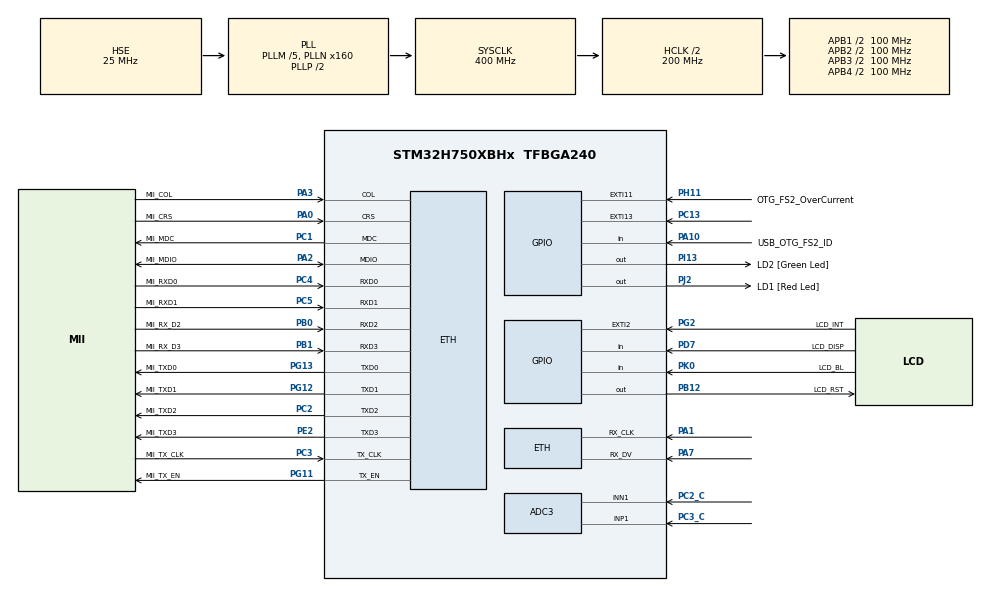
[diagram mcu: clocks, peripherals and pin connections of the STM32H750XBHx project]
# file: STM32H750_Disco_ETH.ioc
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ADC3.Channel-0\#ChannelRegularConversion=ADC_CHANNEL_1
ADC3.NbrOfConversionFlag=1
ADC3.OffsetNumber-0\#ChannelRegularConversion=ADC_OFFSET_NONE
ADC3.Rank-0\#ChannelRegularConversion=1
ADC3.SamplingTime-0\#ChannelRegularConversion=ADC_SAMPLETIME_1CYCLE_5
ADC3.SingleDiff-0\#ChannelRegularConversion=ADC_DIFFERENTIAL_ENDED
CORTEX_M7.AccessPermission_S-Cortex_Memory_Protection_Unit_Region1_Settings_S=MPU_REGION_FULL_ACCESS
CORTEX_M7.AccessPermission_S-Cortex_Memory_Protection_Unit_Region2_Settings_S=MPU_REGION_FULL_ACCESS
CORTEX_M7.BaseAddress_S-Cortex_Memory_Protection_Unit_Region1_Settings_S=0x30020000
CORTEX_M7.BaseAddress_S-Cortex_Memory_Protection_Unit_Region2_Settings_S=0x30040000
CORTEX_M7.CPU_DCache=Enabled
CORTEX_M7.CPU_ICache=Enabled
CORTEX_M7.DisableExec_S-Cortex_Memory_Protection_Unit_Region1_Settings_S=MPU_INSTRUCTION_ACCESS_DISABLE
CORTEX_M7.DisableExec_S-Cortex_Memory_Protection_Unit_Region2_Settings_S=MPU_INSTRUCTION_ACCESS_DISABLE
CORTEX_M7.Enable_S-Cortex_Memory_Protection_Unit_Region1_Settings_S=MPU_REGION_ENABLE
CORTEX_M7.Enable_S-Cortex_Memory_Protection_Unit_Region2_Settings_S=MPU_REGION_ENABLE
CORTEX_M7.IsBufferable_S-Cortex_Memory_Protection_Unit_Region2_Settings_S=MPU_ACCESS_BUFFERABLE
CORTEX_M7.IsShareable_S-Cortex_Memory_Protection_Unit_Region2_Settings_S=MPU_ACCESS_SHAREABLE
CORTEX_M7.Size_S-Cortex_Memory_Protection_Unit_Region1_Settings_S=MPU_REGION_SIZE_128KB
CORTEX_M7.Size_S-Cortex_Memory_Protection_Unit_Region2_Settings_S=MPU_REGION_SIZE_512B
CORTEX_M7.TypeExtField_S-Cortex_Memory_Protection_Unit_Region1_Settings_S=MPU_TEX_LEVEL1
CORTEX_M7.default_mode_Activation=1
ETH.MediaInterface=HAL_ETH_MII_MODE
ETH.RxBuffAddress=0x30000200
ETH.RxBuffLen=1536
ETH.TxDescAddress=0x30000100
FREERTOS.Queues01=buttonEventQueue,8,uint8_t,0,Dynamic,NULL,NULL
FREERTOS.Tasks01=defaultTask,24,512,StartDefaultTask,Default,NULL,Dynamic,NULL,NULL;ButtonTask,24,512,StartButtonTask,Default,NULL,Dynamic,NULL,NULL
FREERTOS.configCHECK_FOR_STACK_OVERFLOW=1
FREERTOS.configMINIMAL_STACK_SIZE=512
FREERTOS.configTOTAL_HEAP_SIZE=30*1024
FREERTOS.configUSE_NEWLIB_REENTRANT=1
LWIP.BSP.number=1
LWIP.DEFAULT_THREAD_STACKSIZE=2048
LWIP.IP_ADDRESS=192.168.001.010
LWIP.LWIP_DHCP=0
LWIP.LWIP_RAM_HEAP_POINTER=0x30020000
LWIP.MEM_SIZE=131048
LWIP.NETMASK_ADDRESS=255.255.255.000
LWIP.TCPIP_THREAD_STACKSIZE=2048
LWIP.TCP_MSS=1460
LWIP.TCP_SND_BUF=5840
LWIP.TCP_SND_QUEUELEN=16
LWIP.Version=v2.1.2_Cube
LWIP0.BSP.STBoard=false
LWIP0.BSP.api=BSP_COMPONENT_DRIVER
LWIP0.BSP.component=LAN8742
LWIP0.BSP.instance=LAN8742
LWIP0.BSP.name=Driver_PHY
LWIP0.BSP.semaphore=S_LAN8742
LWIP0.BSP.solution=LAN8742
Mcu.Family=STM32H7
Mcu.Name=STM32H750XBHx
Mcu.Package=TFBGA240
NVIC.ETH_IRQn=true\:5\:0\:false\:false\:true\:true\:true\:true\:true
NVIC.EXTI15_10_IRQn=true\:5\:0\:false\:false\:true\:true\:true\:true\:true
NVIC.PriorityGroup=NVIC_PRIORITYGROUP_4
NVIC.TIM6_DAC_IRQn=true\:15\:0\:false\:false\:true\:false\:false\:true\:true
NVIC.TimeBase=TIM6_DAC_IRQn
NVIC.TimeBaseIP=TIM6
PA0.GPIO_Label=MII_CRS
PA0.GPIO_Speed=GPIO_SPEED_FREQ_VERY_HIGH
PA0.Mode=MII
PA0.Signal=ETH_CRS
PA0_C.Signal=ADCx_INP0
PA1.GPIO_Speed=GPIO_SPEED_FREQ_VERY_HIGH
PA1.Mode=MII
PA1.Signal=ETH_RX_CLK
PA10.GPIO_Label=USB_OTG_FS2_ID
PA10.Signal=GPIO_Input
PA11.GPIO_Label=USB_OTG_FS2_N
PA11.Signal=USB_OTG_FS_DM
PA12.GPIO_Label=USB_OTG_FS2_P
PA12.Signal=USB_OTG_FS_DP
PA1_C.Signal=ADCx_INP1
PA2.GPIO_Label=MII_MDIO
PA2.GPIO_Speed=GPIO_SPEED_FREQ_VERY_HIGH
PA2.Mode=MII
PA2.Signal=ETH_MDIO
PA3.GPIO_Label=MII_COL
PA3.GPIO_Speed=GPIO_SPEED_FREQ_VERY_HIGH
PA3.Mode=MII
PA3.Signal=ETH_COL
PA6.Signal=S_TIM13_CH1
PA7.GPIO_Speed=GPIO_SPEED_FREQ_VERY_HIGH
PA7.Mode=MII
PA7.Signal=ETH_RX_DV
PA8.Signal=S_TIM1_CH1
PA9.GPIO_Label=VBUS_FS2
PA9.Signal=USB_OTG_FS_VBUS
PB0.GPIO_Label=MII_RX_D2
PB0.GPIO_Speed=GPIO_SPEED_FREQ_VERY_HIGH
PB0.Mode=MII
PB0.Signal=ETH_RXD2
PB1.GPIO_Label=MII_RX_D3
PB1.GPIO_Speed=GPIO_SPEED_FREQ_VERY_HIGH
PB1.Mode=MII
PB1.Signal=ETH_RXD3
PB10.GPIO_Label=VCP_TX
PB10.Signal=USART3_TX
PB11.GPIO_Label=VCP_RX
PB11.Signal=USART3_RX
PB12.GPIO_Label=LCD_RST
PB12.Signal=GPIO_Output
PB13.GPIO_Label=FDCAN2_TX
PB13.Signal=FDCAN2_TX
PB15.Signal=SPI2_MOSI
PB4\ (NJTRST).Signal=SPI2_NSS
PB5.GPIO_Label=FDCAN2_RX
PB5.Signal=FDCAN2_RX
PB6.Signal=QUADSPI_BK1_NCS
PB8.GPIO_Label=SDIO1_D4
PB8.Signal=SDMMC1_D4
PB9.GPIO_Label=SDIO1_D5
PB9.Signal=SDMMC1_D5
PC0.Signal=ADCx_INP10
PC1.GPIO_Label=MII_MDC
PC1.GPIO_Speed=GPIO_SPEED_FREQ_VERY_HIGH
PC1.Mode=MII
PC1.Signal=ETH_MDC
PC10.GPIO_Label=SDIO1_D2
PC10.Signal=SDMMC1_D2
PC11.GPIO_Label=SDIO1_D3
PC11.Signal=SDMMC1_D3
PC12.GPIO_Label=SDIO1_CK
PC12.Signal=SDMMC1_CK
PC13.GPIO_ModeDefaultEXTI=GPIO_MODE_IT_RISING_FALLING
PC13.GPIO_PuPd=GPIO_NOPULL
PC13.Signal=GPXTI13
PC14-OSC32_IN\ (OSC32_IN).GPIO_Label=OSC32_IN
PC14-OSC32_IN\ (OSC32_IN).Mode=LSE-External-Clock-Source
PC14-OSC32_IN\ (OSC32_IN).Signal=RCC_OSC32_IN
PC15-OSC32_OUT\ (OSC32_OUT).GPIO_Label=OSC32_OUT
PC15-OSC32_OUT\ (OSC32_OUT).Signal=RCC_OSC32_OUT
PC2.GPIO_Label=MII_TXD2
PC2.GPIO_Speed=GPIO_SPEED_FREQ_VERY_HIGH
PC2.Mode=MII
PC2.Signal=ETH_TXD2
PC2_C.Signal=SharedAnalog_PC2
PC3.GPIO_Label=MII_TX_CLK
PC3.GPIO_Speed=GPIO_SPEED_FREQ_VERY_HIGH
PC3.Mode=MII
PC3.Signal=ETH_TX_CLK
PC3_C.Mode=IN1-Differential
PC3_C.Signal=ADC3_INP1
PC4.GPIO_Label=MII_RXD0
PC4.GPIO_Speed=GPIO_SPEED_FREQ_VERY_HIGH
PC4.Mode=MII
PC4.Signal=ETH_RXD0
PC5.GPIO_Label=MII_RXD1
PC5.GPIO_Speed=GPIO_SPEED_FREQ_VERY_HIGH
PC5.Mode=MII
PC5.Signal=ETH_RXD1
PC6.GPIO_Label=SDIO1_D6
PC6.Signal=SDMMC1_D6
PC7.GPIO_Label=SDIO1_D7
PC7.Signal=SDMMC1_D7
PC8.GPIO_Label=SDIO1_D0
PC8.Signal=SDMMC1_D0
PC9.GPIO_Label=SDIO1_D1
PC9.Signal=SDMMC1_D1
PD0.Signal=FMC_D2_DA2
PD1.Signal=FMC_D3_DA3
PD10.Signal=FMC_D15_DA15
PD11.Signal=QUADSPI_BK1_IO0
PD14.Signal=FMC_D0_DA0
PD15.Signal=FMC_D1_DA1
PD2.GPIO_Label=SDIO1_CMD
PD2.Signal=SDMMC1_CMD
PD3.Signal=SPI2_SCK
PD7.GPIO_Label=LCD_DISP
PD7.Signal=GPIO_Input
PD8.Signal=FMC_D13_DA13
PD9.Signal=FMC_D14_DA14
PE0.Signal=FMC_NBL0
PE1.Signal=FMC_NBL1
PE10.Signal=FMC_D7_DA7
PE11.Signal=FMC_D8_DA8
PE12.Signal=FMC_D9_DA9
PE13.Signal=FMC_D10_DA10
PE14.Signal=FMC_D11_DA11
PE15.Signal=FMC_D12_DA12
PE2.GPIO_Label=MII_TXD3
PE2.GPIO_Speed=GPIO_SPEED_FREQ_VERY_HIGH
PE2.Mode=MII
PE2.Signal=ETH_TXD3
PE4.Signal=SAI4_D2
PE5.Signal=SAI4_CK2
PE7.Signal=FMC_D4_DA4
PE8.Signal=FMC_D5_DA5
PE9.Signal=FMC_D6_DA6
PF0.Signal=FMC_A0
PF1.Signal=FMC_A1
PF10.Signal=QUADSPI_CLK
PF11.Signal=FMC_SDNRAS
PF12.Signal=FMC_A6
PF13.Signal=FMC_A7
PF14.Signal=FMC_A8
PF15.Signal=FMC_A9
PF2.Signal=FMC_A2
PF3.Signal=FMC_A3
PF4.Signal=FMC_A4
PF5.Signal=FMC_A5
PF6.Signal=QUADSPI_BK1_IO3
PF7.Signal=QUADSPI_BK1_IO2
PF8.Signal=ADC3_INP7
PF9.Signal=QUADSPI_BK1_IO1
PG0.Signal=FMC_A10
PG1.Signal=FMC_A11
PG10.Signal=SAI2_SD_B
PG11.GPIO_Label=MII_TX_EN
PG11.GPIO_Speed=GPIO_SPEED_FREQ_VERY_HIGH
PG11.Mode=MII
PG11.Signal=ETH_TX_EN
PG12.GPIO_Label=MII_TXD1
PG12.GPIO_Speed=GPIO_SPEED_FREQ_VERY_HIGH
PG12.Mode=MII
PG12.Signal=ETH_TXD1
PG13.GPIO_Label=MII_TXD0
PG13.GPIO_Speed=GPIO_SPEED_FREQ_VERY_HIGH
PG13.Mode=MII
PG13.Signal=ETH_TXD0
PG15.Signal=FMC_SDNCAS
PG2.GPIO_Label=LCD_INT
PG2.Signal=GPXTI2
PG4.Signal=FMC_A14_BA0
PG5.Signal=FMC_A15_BA1
PG8.Signal=FMC_SDCLK
PH0-OSC_IN\ (PH0).GPIO_Label=OSC_IN
PH0-OSC_IN\ (PH0).Mode=HSE-External-Clock-Source
PH0-OSC_IN\ (PH0).Signal=RCC_OSC_IN
PH1-OSC_OUT\ (PH1).GPIO_Label=OSC_OUT
PH1-OSC_OUT\ (PH1).Signal=RCC_OSC_OUT
PH11.GPIO_Label=OTG_FS2_OverCurrent
PH11.Signal=GPXTI11
PH13.GPIO_Label=FDCAN1_TX
PH13.Signal=FDCAN1_TX
PH14.GPIO_Label=FDCAN1_RX
PH14.Signal=FDCAN1_RX
PH15.Signal=TIM8_CH3N
PH5.Signal=FMC_SDNWE
PH6.Signal=FMC_SDNE1
PH7.Signal=FMC_SDCKE1
PH9.Signal=LTDC_R3
PI0.Signal=LTDC_G5
PI1.Signal=LTDC_G6
PI10.GPIO_Label=MII_RX_ER
PI10.Signal=ETH_RX_ER
PI12.Signal=LTDC_HSYNC
PI13.GPIO_Label=LD2 [Green Led]
PI13.Signal=GPIO_Output
PI14.Signal=LTDC_CLK
PI15.Signal=LTDC_R0
PI2.Signal=SPI2_MISO
PI4.Signal=SAI2_MCLK_A
PI5.Signal=SAI2_SCK_A
PI6.Signal=SAI2_SD_A
PI7.Signal=SAI2_FS_A
PI9.Signal=LTDC_VSYNC
PJ0.Signal=LTDC_R1
PJ1.Signal=LTDC_R2
PJ10.Signal=LTDC_G3
PJ11.Signal=LTDC_G4
PJ12.Signal=LTDC_B0
PJ13.Signal=LTDC_B1
PJ14.Signal=LTDC_B2
PJ15.GPIO_Label=LCD_DISP
PJ15.Signal=LTDC_B3
PJ2.GPIO_Label=LD1 [Red Led]
PJ2.Signal=GPIO_Output
PJ3.Signal=LTDC_R4
PJ4.Signal=LTDC_R5
PJ5.Signal=LTDC_R6
PJ6.Signal=LTDC_R7
PJ7.Signal=LTDC_G0
PJ8.Signal=LTDC_G1
PJ9.Signal=LTDC_G2
PK0.GPIO_Label=LCD_BL
PK0.Signal=GPIO_Input
PK2.Signal=LTDC_G7
PK3.Signal=LTDC_B4
PK4.Signal=LTDC_B5
PK5.Signal=LTDC_B6
PK6.Signal=LTDC_B7
PK7.Signal=LTDC_DE
ProjectManager.HeapSize=0x200
ProjectManager.StackSize=0x400
ProjectManager.TargetToolchain=STM32CubeIDE
RCC.ADCFreq_Value=37500000
RCC.APB1Freq_Value=100000000
RCC.APB2Freq_Value=100000000
RCC.APB3Freq_Value=100000000
RCC.APB4Freq_Value=100000000
RCC.CortexFreq_Value=400000000
RCC.D1PPRE=RCC_APB3_DIV2
RCC.D2PPRE1=RCC_APB1_DIV2
RCC.D2PPRE2=RCC_APB2_DIV2
RCC.D3PPRE=RCC_APB4_DIV2
RCC.DIVM1=5
RCC.DIVM2=2
RCC.DIVN1=160
RCC.DIVN2=12
RCC.DIVP2=4
RCC.DIVQ1=4
RCC.HCLKFreq_Value=200000000
RCC.HPRE=RCC_HCLK_DIV2
RCC.PLL2FRACN=0
RCC.PLL3FRACN=0
RCC.PLLFRACN=0
RCC.PLLSourceVirtual=RCC_PLLSOURCE_HSE
RCC.SYSCLKFreq_VALUE=400000000
RCC.SYSCLKSource=RCC_SYSCLKSOURCE_PLLCLK
RCC.USBFreq_Value=200000000
SH.ADCx_INP0.0=ADC1_INP0
SH.ADCx_INP0.1=ADC2_INP0
SH.ADCx_INP1.0=ADC1_INP1
SH.ADCx_INP1.1=ADC2_INP1
SH.ADCx_INP10.0=ADC1_INP10
SH.ADCx_INP10.1=ADC3_INP10
SH.FMC_A0.0=FMC_A0
SH.FMC_A1.0=FMC_A1
SH.FMC_A10.0=FMC_A10
SH.FMC_A11.0=FMC_A11
SH.FMC_A14_BA0.0=FMC_BA0
SH.FMC_A15_BA1.0=FMC_BA1
SH.FMC_A2.0=FMC_A2
SH.FMC_A3.0=FMC_A3
SH.FMC_A4.0=FMC_A4
SH.FMC_A5.0=FMC_A5
SH.FMC_A6.0=FMC_A6
SH.FMC_A7.0=FMC_A7
SH.FMC_A8.0=FMC_A8
SH.FMC_A9.0=FMC_A9
SH.FMC_D0_DA0.0=FMC_D0
SH.FMC_D10_DA10.0=FMC_D10
SH.FMC_D11_DA11.0=FMC_D11
SH.FMC_D12_DA12.0=FMC_D12
SH.FMC_D13_DA13.0=FMC_D13
SH.FMC_D14_DA14.0=FMC_D14
SH.FMC_D15_DA15.0=FMC_D15
SH.FMC_D1_DA1.0=FMC_D1
SH.FMC_D2_DA2.0=FMC_D2
SH.FMC_D3_DA3.0=FMC_D3
SH.FMC_D4_DA4.0=FMC_D4
SH.FMC_D5_DA5.0=FMC_D5
SH.FMC_D6_DA6.0=FMC_D6
SH.FMC_D7_DA7.0=FMC_D7
SH.FMC_D8_DA8.0=FMC_D8
SH.FMC_D9_DA9.0=FMC_D9
SH.FMC_NBL0.0=FMC_NBL0
SH.FMC_NBL1.0=FMC_NBL1
SH.FMC_SDCLK.0=FMC_SDCLK
SH.FMC_SDNCAS.0=FMC_SDNCAS
SH.FMC_SDNRAS.0=FMC_SDNRAS
SH.FMC_SDNWE.0=FMC_SDNWE
SH.S_TIM13_CH1.0=TIM13_CH1
SH.S_TIM1_CH1.0=TIM1_CH1
SH.SharedAnalog_PC2.0=ADC3_INP0
SH.SharedAnalog_PC2.1=ADC3_INN1,IN1-Differential
VP_FREERTOS_VS_CMSIS_V2.Mode=CMSIS_V2
VP_LWIP_VS_Enabled.Mode=Enabled
VP_SYS_VS_tim6.Mode=TIM6
board=STM32H750B-DK

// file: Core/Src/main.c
/* USER CODE BEGIN Header */
/**
  ******************************************************************************
  * @file           : main.c
  * @brief          : Main program body
  ******************************************************************************
  * @attention
  *
  * Copyright (c) 2022 STMicroelectronics.
  * All rights reserved.
  *
  * This software is licensed under terms that can be found in the LICENSE file
  * in the root directory of this software component.
  * If no LICENSE file comes with this software, it is provided AS-IS.
  *
  ******************************************************************************
  */
/* USER CODE END Header */
#include "main.h"
#include "cmsis_os.h"
#include "lwip.h"

/* USER CODE BEGIN Includes */
/* ETH_CODE: add lwiperf, see comment in StartDefaultTask function */
#include "lwip/apps/lwiperf.h"

#include "lwip/udp.h"
#include "lwip/tcp.h"
#include <string.h>
#include <stdbool.h>
#include <stdio.h>
#include <stdlib.h>
#include "mqtt.h"
#include "lwip/apps/mqtt.h"
#include "lwip/apps/mqtt_priv.h"
/* USER CODE END Includes */

/* USER CODE BEGIN PD */
#define GPIOC_IDR ((volatile uint32_t*) 0x58020810)
/* USER CODE END PD */

ADC_HandleTypeDef hadc3;

/* Definitions for defaultTask */
osThreadId_t defaultTaskHandle;
const osThreadAttr_t defaultTask_attributes = {
  .name = "defaultTask",
  .stack_size = 512 * 4,
  .priority = (osPriority_t) osPriorityNormal,
};
/* Definitions for ButtonTask */
osThreadId_t ButtonTaskHandle;
const osThreadAttr_t ButtonTask_attributes = {
  .name = "ButtonTask",
  .stack_size = 512 * 4,
  .priority = (osPriority_t) osPriorityNormal,
};
/* Definitions for buttonEventQueue */
osMessageQueueId_t buttonEventQueueHandle;
const osMessageQueueAttr_t buttonEventQueue_attributes = {
  .name = "buttonEventQueue"
};
/* USER CODE BEGIN PV */
struct tcp_pcb* tcp_client;
/* USER CODE END PV */

void SystemClock_Config(void);
static void MPU_Config(void);
static void MX_GPIO_Init(void);
static void MX_ADC3_Init(void);
void StartDefaultTask(void *argument);
void StartButtonTask(void *argument);

/* USER CODE BEGIN 0 */

static mqtt_client_t mqtt_client;
ip_addr_t broker_ip;
bool mqtt_connected = false;

void mqtt_sub_request_cb(void *arg, err_t result) {
  printf("Subscribe result: %d\n\r", result);
}

void mqtt_pub_request_cb(void *arg, err_t result)
{
  if(result != ERR_OK) {
    printf("Publish result: %d\n", result);
  }
}

void mqtt_subscribe_cb(void *arg, const char *topic, u32_t tot_len) {
  printf("Subscribed to: %s\n", topic);
}

void mqtt_incoming_publish_cb(void *arg, const char *topic, u32_t tot_len) {
  printf("Incoming: %s\n", topic);
}

void mqtt_incoming_data_cb(void *arg, const u8_t *data, u16_t len, u8_t flags) {
  printf("Message: %.*s\n", len, data);
}

void mqtt_connection_cb(mqtt_client_t *client, void *arg, mqtt_connection_status_t status) {
  if (status == MQTT_CONNECT_ACCEPTED) {
    printf("MQTT connected!\n");
    mqtt_connected = true;

    mqtt_set_inpub_callback(client, mqtt_incoming_publish_cb, mqtt_incoming_data_cb, NULL);

    /* Subscribe to topic */
    mqtt_subscribe(client, "stm32/temp", 0, mqtt_sub_request_cb, NULL);

    /* Publish dummy temp */
    int temp = (rand() % 11) + 20; // Random number between 20 and 30
    const char temp_msg[3];
    sprintf(temp_msg, "%d", temp);

    err_t err = mqtt_publish(client, "stm32/temp", temp_msg, strlen(temp_msg), 0, 0, mqtt_pub_request_cb, NULL);
    if (err != ERR_OK) {
      printf("Publish error: %d\n", err);
    }
  } else {
    printf("Connection failed: %d\n", status);
  }
}

void start_mqtt(void) {
  mqtt_client_t *client = &mqtt_client;

  struct mqtt_connect_client_info_t ci = {
    .client_id = "stm32h7",
    .client_user = "user1",
    .client_pass = "pass1",
    .keep_alive = 60,
    .will_topic = NULL,
    .will_msg = NULL,
    .will_qos = 0,
    .will_retain = 0
  };

  LOCK_TCPIP_CORE();
  mqtt_client_connect(client, &broker_ip, 1883, mqtt_connection_cb, NULL, &ci);
  UNLOCK_TCPIP_CORE();
}

void HAL_GPIO_EXTI_Callback(uint16_t GPIO_Pin)
{
  if (GPIO_Pin == GPIO_PIN_13)
  {
    // Button state changed, send TCP packet
    GPIO_PinState state = HAL_GPIO_ReadPin(GPIOC, GPIO_PIN_13);
    uint8_t button_msg = 0;
    if (state == GPIO_PIN_RESET) {
      // button released
      button_msg = 0;
    } else {
      // button pressed
      button_msg = 1;
    }

    osMessageQueuePut(buttonEventQueueHandle, &button_msg, 0, 0);
  }
}

/* USER CODE END 0 */

int main(void)
{

  /* MPU Configuration--------------------------------------------------------*/
  MPU_Config();

  /* Enable the CPU Cache */

  /* Enable I-Cache---------------------------------------------------------*/
  SCB_EnableICache();

  /* Enable D-Cache---------------------------------------------------------*/
  SCB_EnableDCache();

  /* MCU Configuration--------------------------------------------------------*/

  /* Reset of all peripherals, Initializes the Flash interface and the Systick. */
  HAL_Init();

  /* Configure the system clock */
  SystemClock_Config();

  /* Initialize all configured peripherals */
  MX_GPIO_Init();
  MX_ADC3_Init();

  /* Init scheduler */
  osKernelInitialize();

  /* Create the queue(s) */
  /* creation of buttonEventQueue */
  buttonEventQueueHandle = osMessageQueueNew (8, sizeof(uint8_t), &buttonEventQueue_attributes);

  /* Create the thread(s) */
  /* creation of defaultTask */
  defaultTaskHandle = osThreadNew(StartDefaultTask, NULL, &defaultTask_attributes);

  /* creation of ButtonTask */
  ButtonTaskHandle = osThreadNew(StartButtonTask, NULL, &ButtonTask_attributes);

  /* Start scheduler */
  osKernelStart();

  /* We should never get here as control is now taken by the scheduler */

  /* Infinite loop */
  while (1)
  {

  }
}

void SystemClock_Config(void)
{
  RCC_OscInitTypeDef RCC_OscInitStruct = {0};
  RCC_ClkInitTypeDef RCC_ClkInitStruct = {0};

  /** Supply configuration update enable
  */
  HAL_PWREx_ConfigSupply(PWR_LDO_SUPPLY);

  /** Configure the main internal regulator output voltage
  */
  __HAL_PWR_VOLTAGESCALING_CONFIG(PWR_REGULATOR_VOLTAGE_SCALE1);

  while(!__HAL_PWR_GET_FLAG(PWR_FLAG_VOSRDY)) {}

  /** Initializes the RCC Oscillators according to the specified parameters
  * in the RCC_OscInitTypeDef structure.
  */
  RCC_OscInitStruct.OscillatorType = RCC_OSCILLATORTYPE_HSE;
  RCC_OscInitStruct.HSEState = RCC_HSE_BYPASS;
  RCC_OscInitStruct.PLL.PLLState = RCC_PLL_ON;
  RCC_OscInitStruct.PLL.PLLSource = RCC_PLLSOURCE_HSE;
  RCC_OscInitStruct.PLL.PLLM = 5;
  RCC_OscInitStruct.PLL.PLLN = 160;
  RCC_OscInitStruct.PLL.PLLP = 2;
  RCC_OscInitStruct.PLL.PLLQ = 4;
  RCC_OscInitStruct.PLL.PLLR = 2;
  RCC_OscInitStruct.PLL.PLLRGE = RCC_PLL1VCIRANGE_2;
  RCC_OscInitStruct.PLL.PLLVCOSEL = RCC_PLL1VCOWIDE;
  RCC_OscInitStruct.PLL.PLLFRACN = 0;
  if (HAL_RCC_OscConfig(&RCC_OscInitStruct) != HAL_OK)
  {
    Error_Handler();
  }

  /** Initializes the CPU, AHB and APB buses clocks
  */
  RCC_ClkInitStruct.ClockType = RCC_CLOCKTYPE_HCLK|RCC_CLOCKTYPE_SYSCLK
                              |RCC_CLOCKTYPE_PCLK1|RCC_CLOCKTYPE_PCLK2
                              |RCC_CLOCKTYPE_D3PCLK1|RCC_CLOCKTYPE_D1PCLK1;
  RCC_ClkInitStruct.SYSCLKSource = RCC_SYSCLKSOURCE_PLLCLK;
  RCC_ClkInitStruct.SYSCLKDivider = RCC_SYSCLK_DIV1;
  RCC_ClkInitStruct.AHBCLKDivider = RCC_HCLK_DIV2;
  RCC_ClkInitStruct.APB3CLKDivider = RCC_APB3_DIV2;
  RCC_ClkInitStruct.APB1CLKDivider = RCC_APB1_DIV2;
  RCC_ClkInitStruct.APB2CLKDivider = RCC_APB2_DIV2;
  RCC_ClkInitStruct.APB4CLKDivider = RCC_APB4_DIV2;

  if (HAL_RCC_ClockConfig(&RCC_ClkInitStruct, FLASH_LATENCY_2) != HAL_OK)
  {
    Error_Handler();
  }
}

static void MX_ADC3_Init(void)
{

  ADC_ChannelConfTypeDef sConfig = {0};

  /** Common config
  */
  hadc3.Instance = ADC3;
  hadc3.Init.ClockPrescaler = ADC_CLOCK_ASYNC_DIV1;
  hadc3.Init.ScanConvMode = ADC_SCAN_DISABLE;
  hadc3.Init.EOCSelection = ADC_EOC_SINGLE_CONV;
  hadc3.Init.LowPowerAutoWait = DISABLE;
  hadc3.Init.ContinuousConvMode = DISABLE;
  hadc3.Init.NbrOfConversion = 1;
  hadc3.Init.DiscontinuousConvMode = DISABLE;
  hadc3.Init.ExternalTrigConv = ADC_SOFTWARE_START;
  hadc3.Init.ExternalTrigConvEdge = ADC_EXTERNALTRIGCONVEDGE_NONE;
  hadc3.Init.ConversionDataManagement = ADC_CONVERSIONDATA_DR;
  hadc3.Init.Overrun = ADC_OVR_DATA_PRESERVED;
  hadc3.Init.LeftBitShift = ADC_LEFTBITSHIFT_NONE;
  hadc3.Init.OversamplingMode = DISABLE;
  hadc3.Init.Oversampling.Ratio = 1;
  if (HAL_ADC_Init(&hadc3) != HAL_OK)
  {
    Error_Handler();
  }
  hadc3.Init.Resolution = ADC_RESOLUTION_16B;
  if (HAL_ADC_Init(&hadc3) != HAL_OK)
  {
    Error_Handler();
  }

  /** Configure Regular Channel
  */
  sConfig.Channel = ADC_CHANNEL_1;
  sConfig.Rank = ADC_REGULAR_RANK_1;
  sConfig.SamplingTime = ADC_SAMPLETIME_1CYCLE_5;
  sConfig.SingleDiff = ADC_DIFFERENTIAL_ENDED;
  sConfig.OffsetNumber = ADC_OFFSET_NONE;
  sConfig.Offset = 0;
  sConfig.OffsetSignedSaturation = DISABLE;
  if (HAL_ADC_ConfigChannel(&hadc3, &sConfig) != HAL_OK)
  {
    Error_Handler();
  }

}

static void MX_GPIO_Init(void)
{
  GPIO_InitTypeDef GPIO_InitStruct = {0};

  /* GPIO Ports Clock Enable */
  __HAL_RCC_GPIOI_CLK_ENABLE();
  __HAL_RCC_GPIOB_CLK_ENABLE();
  __HAL_RCC_GPIOK_CLK_ENABLE();
  __HAL_RCC_GPIOG_CLK_ENABLE();
  __HAL_RCC_GPIOC_CLK_ENABLE();
  __HAL_RCC_GPIOE_CLK_ENABLE();
  __HAL_RCC_GPIOJ_CLK_ENABLE();
  __HAL_RCC_GPIOD_CLK_ENABLE();
  __HAL_RCC_GPIOH_CLK_ENABLE();
  __HAL_RCC_GPIOA_CLK_ENABLE();
  __HAL_RCC_GPIOF_CLK_ENABLE();

  /*Configure GPIO pin Output Level */
  HAL_GPIO_WritePin(LD2_GPIO_Port, LD2_Pin, GPIO_PIN_RESET);

  /*Configure GPIO pin Output Level */
  HAL_GPIO_WritePin(LD1_GPIO_Port, LD1_Pin, GPIO_PIN_RESET);

  /*Configure GPIO pin Output Level */
  HAL_GPIO_WritePin(LCD_RST_GPIO_Port, LCD_RST_Pin, GPIO_PIN_RESET);

  /*Configure GPIO pins : PI6 PI5 PI4 PI7 */
  GPIO_InitStruct.Pin = GPIO_PIN_6|GPIO_PIN_5|GPIO_PIN_4|GPIO_PIN_7;
  GPIO_InitStruct.Mode = GPIO_MODE_AF_PP;
  GPIO_InitStruct.Pull = GPIO_NOPULL;
  GPIO_InitStruct.Speed = GPIO_SPEED_FREQ_LOW;
  GPIO_InitStruct.Alternate = GPIO_AF10_SAI2;
  HAL_GPIO_Init(GPIOI, &GPIO_InitStruct);

  /*Configure GPIO pins : FDCAN2_RX_Pin FDCAN2_TX_Pin */
  GPIO_InitStruct.Pin = FDCAN2_RX_Pin|FDCAN2_TX_Pin;
  GPIO_InitStruct.Mode = GPIO_MODE_AF_PP;
  GPIO_InitStruct.Pull = GPIO_NOPULL;
  GPIO_InitStruct.Speed = GPIO_SPEED_FREQ_LOW;
  GPIO_InitStruct.Alternate = GPIO_AF9_FDCAN2;
  HAL_GPIO_Init(GPIOB, &GPIO_InitStruct);

  /*Configure GPIO pins : PK5 PK4 PK6 PK3
                           PK7 PK2 */
  GPIO_InitStruct.Pin = GPIO_PIN_5|GPIO_PIN_4|GPIO_PIN_6|GPIO_PIN_3
                          |GPIO_PIN_7|GPIO_PIN_2;
  GPIO_InitStruct.Mode = GPIO_MODE_AF_PP;
  GPIO_InitStruct.Pull = GPIO_NOPULL;
  GPIO_InitStruct.Speed = GPIO_SPEED_FREQ_LOW;
  GPIO_InitStruct.Alternate = GPIO_AF14_LTDC;
  HAL_GPIO_Init(GPIOK, &GPIO_InitStruct);

  /*Configure GPIO pin : PG10 */
  GPIO_InitStruct.Pin = GPIO_PIN_10;
  GPIO_InitStruct.Mode = GPIO_MODE_AF_PP;
  GPIO_InitStruct.Pull = GPIO_NOPULL;
  GPIO_InitStruct.Speed = GPIO_SPEED_FREQ_LOW;
  GPIO_InitStruct.Alternate = GPIO_AF10_SAI2;
  HAL_GPIO_Init(GPIOG, &GPIO_InitStruct);

  /*Configure GPIO pins : SDIO1_D2_Pin SDIO1_D3_Pin SDIO1_CK_Pin SDIO1_D0_Pin
                           SDIO1_D1_Pin SDIO1_D7_Pin SDIO1_D6_Pin */
  GPIO_InitStruct.Pin = SDIO1_D2_Pin|SDIO1_D3_Pin|SDIO1_CK_Pin|SDIO1_D0_Pin
                          |SDIO1_D1_Pin|SDIO1_D7_Pin|SDIO1_D6_Pin;
  GPIO_InitStruct.Mode = GPIO_MODE_AF_PP;
  GPIO_InitStruct.Pull = GPIO_NOPULL;
  GPIO_InitStruct.Speed = GPIO_SPEED_FREQ_VERY_HIGH;
  GPIO_InitStruct.Alternate = GPIO_AF12_SDIO1;
  HAL_GPIO_Init(GPIOC, &GPIO_InitStruct);

  /*Configure GPIO pins : PI1 PI0 PI9 PI12
                           PI14 PI15 */
  GPIO_InitStruct.Pin = GPIO_PIN_1|GPIO_PIN_0|GPIO_PIN_9|GPIO_PIN_12
                          |GPIO_PIN_14|GPIO_PIN_15;
  GPIO_InitStruct.Mode = GPIO_MODE_AF_PP;
  GPIO_InitStruct.Pull = GPIO_NOPULL;
  GPIO_InitStruct.Speed = GPIO_SPEED_FREQ_LOW;
  GPIO_InitStruct.Alternate = GPIO_AF14_LTDC;
  HAL_GPIO_Init(GPIOI, &GPIO_InitStruct);

  /*Configure GPIO pins : PE1 PE0 PE10 PE9
                           PE11 PE12 PE15 PE8
                           PE13 PE7 PE14 */
  GPIO_InitStruct.Pin = GPIO_PIN_1|GPIO_PIN_0|GPIO_PIN_10|GPIO_PIN_9
                          |GPIO_PIN_11|GPIO_PIN_12|GPIO_PIN_15|GPIO_PIN_8
                          |GPIO_PIN_13|GPIO_PIN_7|GPIO_PIN_14;
  GPIO_InitStruct.Mode = GPIO_MODE_AF_PP;
  GPIO_InitStruct.Pull = GPIO_NOPULL;
  GPIO_InitStruct.Speed = GPIO_SPEED_FREQ_VERY_HIGH;
  GPIO_InitStruct.Alternate = GPIO_AF12_FMC;
  HAL_GPIO_Init(GPIOE, &GPIO_InitStruct);

  /*Configure GPIO pin : PB6 */
  GPIO_InitStruct.Pin = GPIO_PIN_6;
  GPIO_InitStruct.Mode = GPIO_MODE_AF_PP;
  GPIO_InitStruct.Pull = GPIO_NOPULL;
  GPIO_InitStruct.Speed = GPIO_SPEED_FREQ_LOW;
  GPIO_InitStruct.Alternate = GPIO_AF10_QUADSPI;
  HAL_GPIO_Init(GPIOB, &GPIO_InitStruct);

  /*Configure GPIO pin : PB4 */
  GPIO_InitStruct.Pin = GPIO_PIN_4;
  GPIO_InitStruct.Mode = GPIO_MODE_AF_PP;
  GPIO_InitStruct.Pull = GPIO_NOPULL;
  GPIO_InitStruct.Speed = GPIO_SPEED_FREQ_LOW;
  GPIO_InitStruct.Alternate = GPIO_AF7_SPI2;
  HAL_GPIO_Init(GPIOB, &GPIO_InitStruct);

  /*Configure GPIO pins : LCD_DISP_Pin PJ14 PJ12 PJ13
                           PJ11 PJ10 PJ9 PJ0
                           PJ8 PJ7 PJ6 PJ1
                           PJ5 PJ3 PJ4 */
  GPIO_InitStruct.Pin = LCD_DISP_Pin|GPIO_PIN_14|GPIO_PIN_12|GPIO_PIN_13
                          |GPIO_PIN_11|GPIO_PIN_10|GPIO_PIN_9|GPIO_PIN_0
                          |GPIO_PIN_8|GPIO_PIN_7|GPIO_PIN_6|GPIO_PIN_1
                          |GPIO_PIN_5|GPIO_PIN_3|GPIO_PIN_4;
  GPIO_InitStruct.Mode = GPIO_MODE_AF_PP;
  GPIO_InitStruct.Pull = GPIO_NOPULL;
  GPIO_InitStruct.Speed = GPIO_SPEED_FREQ_LOW;
  GPIO_InitStruct.Alternate = GPIO_AF14_LTDC;
  HAL_GPIO_Init(GPIOJ, &GPIO_InitStruct);

  /*Configure GPIO pin : PD3 */
  GPIO_InitStruct.Pin = GPIO_PIN_3;
  GPIO_InitStruct.Mode = GPIO_MODE_AF_PP;
  GPIO_InitStruct.Pull = GPIO_NOPULL;
  GPIO_InitStruct.Speed = GPIO_SPEED_FREQ_LOW;
  GPIO_InitStruct.Alternate = GPIO_AF5_SPI2;
  HAL_GPIO_Init(GPIOD, &GPIO_InitStruct);

  /*Configure GPIO pin : PI2 */
  GPIO_InitStruct.Pin = GPIO_PIN_2;
  GPIO_InitStruct.Mode = GPIO_MODE_AF_PP;
  GPIO_InitStruct.Pull = GPIO_NOPULL;
  GPIO_InitStruct.Speed = GPIO_SPEED_FREQ_LOW;
  GPIO_InitStruct.Alternate = GPIO_AF5_SPI2;
  HAL_GPIO_Init(GPIOI, &GPIO_InitStruct);

  /*Configure GPIO pin : PH15 */
  GPIO_InitStruct.Pin = GPIO_PIN_15;
  GPIO_InitStruct.Mode = GPIO_MODE_AF_PP;
  GPIO_InitStruct.Pull = GPIO_NOPULL;
  GPIO_InitStruct.Speed = GPIO_SPEED_FREQ_LOW;
  GPIO_InitStruct.Alternate = GPIO_AF3_TIM8;
  HAL_GPIO_Init(GPIOH, &GPIO_InitStruct);

  /*Configure GPIO pins : FDCAN1_RX_Pin FDCAN1_TX_Pin */
  GPIO_InitStruct.Pin = FDCAN1_RX_Pin|FDCAN1_TX_Pin;
  GPIO_InitStruct.Mode = GPIO_MODE_AF_PP;
  GPIO_InitStruct.Pull = GPIO_NOPULL;
  GPIO_InitStruct.Speed = GPIO_SPEED_FREQ_LOW;
  GPIO_InitStruct.Alternate = GPIO_AF9_FDCAN1;
  HAL_GPIO_Init(GPIOH, &GPIO_InitStruct);

  /*Configure GPIO pin : LCD_DISPD7_Pin */
  GPIO_InitStruct.Pin = LCD_DISPD7_Pin;
  GPIO_InitStruct.Mode = GPIO_MODE_INPUT;
  GPIO_InitStruct.Pull = GPIO_NOPULL;
  HAL_GPIO_Init(LCD_DISPD7_GPIO_Port, &GPIO_InitStruct);

  /*Configure GPIO pins : PE5 PE4 */
  GPIO_InitStruct.Pin = GPIO_PIN_5|GPIO_PIN_4;
  GPIO_InitStruct.Mode = GPIO_MODE_AF_PP;
  GPIO_InitStruct.Pull = GPIO_NOPULL;
  GPIO_InitStruct.Speed = GPIO_SPEED_FREQ_LOW;
  GPIO_InitStruct.Alternate = GPIO_AF10_SAI4;
  HAL_GPIO_Init(GPIOE, &GPIO_InitStruct);

  /*Configure GPIO pins : SDIO1_D5_Pin SDIO1_D4_Pin */
  GPIO_InitStruct.Pin = SDIO1_D5_Pin|SDIO1_D4_Pin;
  GPIO_InitStruct.Mode = GPIO_MODE_AF_PP;
  GPIO_InitStruct.Pull = GPIO_NOPULL;
  GPIO_InitStruct.Speed = GPIO_SPEED_FREQ_VERY_HIGH;
  GPIO_InitStruct.Alternate = GPIO_AF12_SDIO1;
  HAL_GPIO_Init(GPIOB, &GPIO_InitStruct);

  /*Configure GPIO pins : PG15 PG8 PG5 PG4
                           PG0 PG1 */
  GPIO_InitStruct.Pin = GPIO_PIN_15|GPIO_PIN_8|GPIO_PIN_5|GPIO_PIN_4
                          |GPIO_PIN_0|GPIO_PIN_1;
  GPIO_InitStruct.Mode = GPIO_MODE_AF_PP;
  GPIO_InitStruct.Pull = GPIO_NOPULL;
  GPIO_InitStruct.Speed = GPIO_SPEED_FREQ_VERY_HIGH;
  GPIO_InitStruct.Alternate = GPIO_AF12_FMC;
  HAL_GPIO_Init(GPIOG, &GPIO_InitStruct);

  /*Configure GPIO pin : SDIO1_CMD_Pin */
  GPIO_InitStruct.Pin = SDIO1_CMD_Pin;
  GPIO_InitStruct.Mode = GPIO_MODE_AF_PP;
  GPIO_InitStruct.Pull = GPIO_NOPULL;
  GPIO_InitStruct.Speed = GPIO_SPEED_FREQ_VERY_HIGH;
  GPIO_InitStruct.Alternate = GPIO_AF12_SDIO1;
  HAL_GPIO_Init(SDIO1_CMD_GPIO_Port, &GPIO_InitStruct);

  /*Configure GPIO pins : PD0 PD1 PD15 PD14
                           PD10 PD9 PD8 */
  GPIO_InitStruct.Pin = GPIO_PIN_0|GPIO_PIN_1|GPIO_PIN_15|GPIO_PIN_14
                          |GPIO_PIN_10|GPIO_PIN_9|GPIO_PIN_8;
  GPIO_InitStruct.Mode = GPIO_MODE_AF_PP;
  GPIO_InitStruct.Pull = GPIO_NOPULL;
  GPIO_InitStruct.Speed = GPIO_SPEED_FREQ_VERY_HIGH;
  GPIO_InitStruct.Alternate = GPIO_AF12_FMC;
  HAL_GPIO_Init(GPIOD, &GPIO_InitStruct);

  /*Configure GPIO pin : USB_OTG_FS2_ID_Pin */
  GPIO_InitStruct.Pin = USB_OTG_FS2_ID_Pin;
  GPIO_InitStruct.Mode = GPIO_MODE_INPUT;
  GPIO_InitStruct.Pull = GPIO_NOPULL;
  HAL_GPIO_Init(USB_OTG_FS2_ID_GPIO_Port, &GPIO_InitStruct);

  /*Configure GPIO pin : PC13 */
  GPIO_InitStruct.Pin = GPIO_PIN_13;
  GPIO_InitStruct.Mode = GPIO_MODE_IT_RISING_FALLING;
  GPIO_InitStruct.Pull = GPIO_NOPULL;
  HAL_GPIO_Init(GPIOC, &GPIO_InitStruct);

  /*Configure GPIO pin : PA8 */
  GPIO_InitStruct.Pin = GPIO_PIN_8;
  GPIO_InitStruct.Mode = GPIO_MODE_AF_PP;
  GPIO_InitStruct.Pull = GPIO_NOPULL;
  GPIO_InitStruct.Speed = GPIO_SPEED_FREQ_LOW;
  GPIO_InitStruct.Alternate = GPIO_AF1_TIM1;
  HAL_GPIO_Init(GPIOA, &GPIO_InitStruct);

  /*Configure GPIO pins : USB_OTG_FS2_P_Pin USB_OTG_FS2_N_Pin */
  GPIO_InitStruct.Pin = USB_OTG_FS2_P_Pin|USB_OTG_FS2_N_Pin;
  GPIO_InitStruct.Mode = GPIO_MODE_AF_PP;
  GPIO_InitStruct.Pull = GPIO_NOPULL;
  GPIO_InitStruct.Speed = GPIO_SPEED_FREQ_LOW;
  GPIO_InitStruct.Alternate = GPIO_AF10_OTG1_FS;
  HAL_GPIO_Init(GPIOA, &GPIO_InitStruct);

  /*Configure GPIO pins : PF2 PF1 PF0 PF3
                           PF5 PF4 PF13 PF14
                           PF12 PF15 PF11 */
  GPIO_InitStruct.Pin = GPIO_PIN_2|GPIO_PIN_1|GPIO_PIN_0|GPIO_PIN_3
                          |GPIO_PIN_5|GPIO_PIN_4|GPIO_PIN_13|GPIO_PIN_14
                          |GPIO_PIN_12|GPIO_PIN_15|GPIO_PIN_11;
  GPIO_InitStruct.Mode = GPIO_MODE_AF_PP;
  GPIO_InitStruct.Pull = GPIO_NOPULL;
  GPIO_InitStruct.Speed = GPIO_SPEED_FREQ_VERY_HIGH;
  GPIO_InitStruct.Alternate = GPIO_AF12_FMC;
  HAL_GPIO_Init(GPIOF, &GPIO_InitStruct);

  /*Configure GPIO pin : LD2_Pin */
  GPIO_InitStruct.Pin = LD2_Pin;
  GPIO_InitStruct.Mode = GPIO_MODE_OUTPUT_PP;
  GPIO_InitStruct.Pull = GPIO_NOPULL;
  GPIO_InitStruct.Speed = GPIO_SPEED_FREQ_LOW;
  HAL_GPIO_Init(LD2_GPIO_Port, &GPIO_InitStruct);

  /*Configure GPIO pin : LCD_INT_Pin */
  GPIO_InitStruct.Pin = LCD_INT_Pin;
  GPIO_InitStruct.Mode = GPIO_MODE_IT_RISING;
  GPIO_InitStruct.Pull = GPIO_NOPULL;
  HAL_GPIO_Init(LCD_INT_GPIO_Port, &GPIO_InitStruct);

  /*Configure GPIO pin : LCD_BL_Pin */
  GPIO_InitStruct.Pin = LCD_BL_Pin;
  GPIO_InitStruct.Mode = GPIO_MODE_INPUT;
  GPIO_InitStruct.Pull = GPIO_NOPULL;
  HAL_GPIO_Init(LCD_BL_GPIO_Port, &GPIO_InitStruct);

  /*Configure GPIO pins : PF6 PF7 PF10 */
  GPIO_InitStruct.Pin = GPIO_PIN_6|GPIO_PIN_7|GPIO_PIN_10;
  GPIO_InitStruct.Mode = GPIO_MODE_AF_PP;
  GPIO_InitStruct.Pull = GPIO_NOPULL;
  GPIO_InitStruct.Speed = GPIO_SPEED_FREQ_LOW;
  GPIO_InitStruct.Alternate = GPIO_AF9_QUADSPI;
  HAL_GPIO_Init(GPIOF, &GPIO_InitStruct);

  /*Configure GPIO pin : PC0 */
  GPIO_InitStruct.Pin = GPIO_PIN_0;
  GPIO_InitStruct.Mode = GPIO_MODE_ANALOG;
  GPIO_InitStruct.Pull = GPIO_NOPULL;
  HAL_GPIO_Init(GPIOC, &GPIO_InitStruct);

  /*Configure GPIO pin : PF9 */
  GPIO_InitStruct.Pin = GPIO_PIN_9;
  GPIO_InitStruct.Mode = GPIO_MODE_AF_PP;
  GPIO_InitStruct.Pull = GPIO_NOPULL;
  GPIO_InitStruct.Speed = GPIO_SPEED_FREQ_LOW;
  GPIO_InitStruct.Alternate = GPIO_AF10_QUADSPI;
  HAL_GPIO_Init(GPIOF, &GPIO_InitStruct);

  /*Configure GPIO pins : PH5 PH6 PH7 */
  GPIO_InitStruct.Pin = GPIO_PIN_5|GPIO_PIN_6|GPIO_PIN_7;
  GPIO_InitStruct.Mode = GPIO_MODE_AF_PP;
  GPIO_InitStruct.Pull = GPIO_NOPULL;
  GPIO_InitStruct.Speed = GPIO_SPEED_FREQ_VERY_HIGH;
  GPIO_InitStruct.Alternate = GPIO_AF12_FMC;
  HAL_GPIO_Init(GPIOH, &GPIO_InitStruct);

  /*Configure GPIO pins : VCP_TX_Pin VCP_RX_Pin */
  GPIO_InitStruct.Pin = VCP_TX_Pin|VCP_RX_Pin;
  GPIO_InitStruct.Mode = GPIO_MODE_AF_PP;
  GPIO_InitStruct.Pull = GPIO_NOPULL;
  GPIO_InitStruct.Speed = GPIO_SPEED_FREQ_LOW;
  GPIO_InitStruct.Alternate = GPIO_AF7_USART3;
  HAL_GPIO_Init(GPIOB, &GPIO_InitStruct);

  /*Configure GPIO pin : OTG_FS2_OverCurrent_Pin */
  GPIO_InitStruct.Pin = OTG_FS2_OverCurrent_Pin;
  GPIO_InitStruct.Mode = GPIO_MODE_IT_RISING;
  GPIO_InitStruct.Pull = GPIO_NOPULL;
  HAL_GPIO_Init(OTG_FS2_OverCurrent_GPIO_Port, &GPIO_InitStruct);

  /*Configure GPIO pin : PA6 */
  GPIO_InitStruct.Pin = GPIO_PIN_6;
  GPIO_InitStruct.Mode = GPIO_MODE_AF_PP;
  GPIO_InitStruct.Pull = GPIO_NOPULL;
  GPIO_InitStruct.Speed = GPIO_SPEED_FREQ_LOW;
  GPIO_InitStruct.Alternate = GPIO_AF9_TIM13;
  HAL_GPIO_Init(GPIOA, &GPIO_InitStruct);

  /*Configure GPIO pin : PH9 */
  GPIO_InitStruct.Pin = GPIO_PIN_9;
  GPIO_InitStruct.Mode = GPIO_MODE_AF_PP;
  GPIO_InitStruct.Pull = GPIO_NOPULL;
  GPIO_InitStruct.Speed = GPIO_SPEED_FREQ_LOW;
  GPIO_InitStruct.Alternate = GPIO_AF14_LTDC;
  HAL_GPIO_Init(GPIOH, &GPIO_InitStruct);

  /*Configure GPIO pin : PD11 */
  GPIO_InitStruct.Pin = GPIO_PIN_11;
  GPIO_InitStruct.Mode = GPIO_MODE_AF_PP;
  GPIO_InitStruct.Pull = GPIO_NOPULL;
  GPIO_InitStruct.Speed = GPIO_SPEED_FREQ_LOW;
  GPIO_InitStruct.Alternate = GPIO_AF9_QUADSPI;
  HAL_GPIO_Init(GPIOD, &GPIO_InitStruct);

  /*Configure GPIO pin : LD1_Pin */
  GPIO_InitStruct.Pin = LD1_Pin;
  GPIO_InitStruct.Mode = GPIO_MODE_OUTPUT_PP;
  GPIO_InitStruct.Pull = GPIO_NOPULL;
  GPIO_InitStruct.Speed = GPIO_SPEED_FREQ_LOW;
  HAL_GPIO_Init(LD1_GPIO_Port, &GPIO_InitStruct);

  /*Configure GPIO pin : LCD_RST_Pin */
  GPIO_InitStruct.Pin = LCD_RST_Pin;
  GPIO_InitStruct.Mode = GPIO_MODE_OUTPUT_PP;
  GPIO_InitStruct.Pull = GPIO_NOPULL;
  GPIO_InitStruct.Speed = GPIO_SPEED_FREQ_LOW;
  HAL_GPIO_Init(LCD_RST_GPIO_Port, &GPIO_InitStruct);

  /*Configure GPIO pin : PB15 */
  GPIO_InitStruct.Pin = GPIO_PIN_15;
  GPIO_InitStruct.Mode = GPIO_MODE_AF_PP;
  GPIO_InitStruct.Pull = GPIO_NOPULL;
  GPIO_InitStruct.Speed = GPIO_SPEED_FREQ_LOW;
  GPIO_InitStruct.Alternate = GPIO_AF5_SPI2;
  HAL_GPIO_Init(GPIOB, &GPIO_InitStruct);

  /*AnalogSwitch Config */
  HAL_SYSCFG_AnalogSwitchConfig(SYSCFG_SWITCH_PA0, SYSCFG_SWITCH_PA0_OPEN);

  /*AnalogSwitch Config */
  HAL_SYSCFG_AnalogSwitchConfig(SYSCFG_SWITCH_PA1, SYSCFG_SWITCH_PA1_OPEN);

  /* EXTI interrupt init*/
  HAL_NVIC_SetPriority(EXTI15_10_IRQn, 5, 0);
  HAL_NVIC_EnableIRQ(EXTI15_10_IRQn);

}

/* USER CODE BEGIN 4 */
bool tcp_connected = false;
err_t tcp_connected_cb(void *arg, struct tcp_pcb *tpcb, err_t err) {
    if (err == ERR_OK) {
        tcp_connected = true;
    }
    return ERR_OK;
}
/* USER CODE END 4 */

void StartDefaultTask(void *argument)
{
  /* init code for LWIP */
  MX_LWIP_Init();
  /* USER CODE BEGIN 5 */
  /* ETH_CODE: Adding lwiperf to measure TCP/IP performance.
     * iperf 2.0.6 (or older?) is required for the tests. Newer iperf2 versions
     * might work without data check, but they send different headers.
     * iperf3 is not compatible at all.
     * Adding lwiperf.c file to the project is necessary.
     * The default include path should already contain
     * 'lwip/apps/lwiperf.h'
     */
  osDelay(2000);
  /* Replace with your PC's IP address */
  IP4_ADDR(&broker_ip, 192, 168, 1, 1);
  start_mqtt();
  // LOCK_TCPIP_CORE();
  // lwiperf_start_tcp_server_default(NULL, NULL);

  // ip4_addr_t remote_addr;
  // IP4_ADDR(&remote_addr, 192, 168, 1, 1);
  // lwiperf_start_tcp_client_default(&remote_addr, NULL, NULL);
  // UNLOCK_TCPIP_CORE();
  // /* Infinite loop */
  // for(;;)
  // {
  //     osDelay(1000);
  // }

  /* UDP example */
  const char* message = "UDP from STM32!\r\n";

  // osDelay(1000);

  ip_addr_t PC_IPADDR;
  IP_ADDR4(&PC_IPADDR, 192, 168, 1, 1);

  LOCK_TCPIP_CORE();
  struct udp_pcb* my_udp = udp_new();
  udp_connect(my_udp, &PC_IPADDR, 55151);
  UNLOCK_TCPIP_CORE();
  struct pbuf* udp_buffer = NULL;

  /* TCP client config */
  ip_addr_t server_ip;
  IP4_ADDR(&server_ip, 192, 168, 1, 1); // Windows PC IP

  LOCK_TCPIP_CORE();
  tcp_client = tcp_new();
  if (tcp_client != NULL) {
    tcp_connect(tcp_client, &server_ip, 12345, tcp_connected_cb);  // Use the callback
  }
  UNLOCK_TCPIP_CORE();

  struct pbuf* tcp_buffer = NULL;

  osDelay(1000);

  // /* Infinite loop */
  for (;;) {
    osDelay(1000);
    /* !! PBUF_RAM is critical for correct operation !! */
    udp_buffer = pbuf_alloc(PBUF_TRANSPORT, strlen(message), PBUF_RAM);

    if (udp_buffer != NULL) {
      LOCK_TCPIP_CORE();
      /* Send UDP message */
      memcpy(udp_buffer->payload, message, strlen(message));
      udp_send(my_udp, udp_buffer);
      pbuf_free(udp_buffer);
      UNLOCK_TCPIP_CORE();
    }

    osDelay(300);

    if (tcp_connected) {
      char tcp_msg[256]; // Make sure this buffer is large enough

      int temp = (rand() % 11) + 20; // Random number between 20 and 30

      sprintf(tcp_msg,
        "POST /temperature HTTP/1.1\r\n"
        "Host: 192.168.1.1:12345\r\n"
        "Content-Type: application/json\r\n"
        "Content-Length: 12\r\n"
        "\r\n"
        "{\"temp\":%d}", temp);

    	LOCK_TCPIP_CORE();
      tcp_write(tcp_client, tcp_msg, strlen(tcp_msg), TCP_WRITE_FLAG_COPY);
      tcp_output(tcp_client);
      UNLOCK_TCPIP_CORE();
    }

    // tcp_buffer = pbuf_alloc(PBUF_TRANSPORT, strlen(tcp_msg), PBUF_RAM);
    // if (tcp_buffer != NULL) {
    //     LOCK_TCPIP_CORE();
    //     /* send TCP message */
    //     memcpy(tcp_buffer->payload, tcp_msg, strlen(tcp_msg));
    //     tcp_write(tcp_client, tcp_msg, strlen(tcp_msg), TCP_WRITE_FLAG_COPY);
    //     tcp_output(tcp_client);
    //     UNLOCK_TCPIP_CORE();
    // }

    /* MQTT send */
    if (mqtt_connected) {
      int temp = (rand() % 11) + 20; // Random number between 20 and 30
      const char temp_msg[3];
      sprintf(temp_msg, "%d", temp);

    	LOCK_TCPIP_CORE();
      err_t err = mqtt_publish(&mqtt_client, "stm32/temp", temp_msg, strlen(temp_msg), 0, 0, mqtt_pub_request_cb, NULL);
    	UNLOCK_TCPIP_CORE();

      osDelay(200);
    }
  }
  /* USER CODE END 5 */
}

void StartButtonTask(void *argument)
{
  /* USER CODE BEGIN StartButtonTask */
  /* Infinite loop */
  osDelay(1000);
  uint8_t button_msg;

  for(;;)
  {
    if (osMessageQueueGet(buttonEventQueueHandle, &button_msg, NULL, osWaitForever) == osOK)
    {
      if (tcp_connected) {
        char tcp_msg[256]; // Make sure this buffer is large enough

        sprintf(tcp_msg,
          "POST /temperature HTTP/1.1\r\n"
          "Host: 192.168.1.1:12345\r\n"
          "Content-Type: application/json\r\n"
          "Content-Length: 12\r\n"
          "\r\n"
          "{\"button_pressed\":%d}", button_msg);

        LOCK_TCPIP_CORE();
        tcp_write(tcp_client, tcp_msg, strlen(tcp_msg), TCP_WRITE_FLAG_COPY);
        tcp_output(tcp_client);
        UNLOCK_TCPIP_CORE();
      }
    }
  }
  /* USER CODE END StartButtonTask */
}

 /* MPU Configuration */

void MPU_Config(void)
{
  MPU_Region_InitTypeDef MPU_InitStruct = {0};

  /* Disables the MPU */
  HAL_MPU_Disable();

  /** Initializes and configures the Region and the memory to be protected
  */
  MPU_InitStruct.Enable = MPU_REGION_ENABLE;
  MPU_InitStruct.Number = MPU_REGION_NUMBER0;
  MPU_InitStruct.BaseAddress = 0x0;
  MPU_InitStruct.Size = MPU_REGION_SIZE_4GB;
  MPU_InitStruct.SubRegionDisable = 0x87;
  MPU_InitStruct.TypeExtField = MPU_TEX_LEVEL0;
  MPU_InitStruct.AccessPermission = MPU_REGION_NO_ACCESS;
  MPU_InitStruct.DisableExec = MPU_INSTRUCTION_ACCESS_DISABLE;
  MPU_InitStruct.IsShareable = MPU_ACCESS_SHAREABLE;
  MPU_InitStruct.IsCacheable = MPU_ACCESS_NOT_CACHEABLE;
  MPU_InitStruct.IsBufferable = MPU_ACCESS_NOT_BUFFERABLE;

  HAL_MPU_ConfigRegion(&MPU_InitStruct);

  /** Initializes and configures the Region and the memory to be protected
  */
  MPU_InitStruct.Number = MPU_REGION_NUMBER1;
  MPU_InitStruct.BaseAddress = 0x30020000;
  MPU_InitStruct.Size = MPU_REGION_SIZE_128KB;
  MPU_InitStruct.SubRegionDisable = 0x0;
  MPU_InitStruct.TypeExtField = MPU_TEX_LEVEL1;
  MPU_InitStruct.AccessPermission = MPU_REGION_FULL_ACCESS;
  MPU_InitStruct.IsShareable = MPU_ACCESS_NOT_SHAREABLE;

  HAL_MPU_ConfigRegion(&MPU_InitStruct);

  /** Initializes and configures the Region and the memory to be protected
  */
  MPU_InitStruct.Number = MPU_REGION_NUMBER2;
  MPU_InitStruct.BaseAddress = 0x30040000;
  MPU_InitStruct.Size = MPU_REGION_SIZE_512B;
  MPU_InitStruct.TypeExtField = MPU_TEX_LEVEL0;
  MPU_InitStruct.IsShareable = MPU_ACCESS_SHAREABLE;
  MPU_InitStruct.IsBufferable = MPU_ACCESS_BUFFERABLE;

  HAL_MPU_ConfigRegion(&MPU_InitStruct);
  /* Enables the MPU */
  HAL_MPU_Enable(MPU_PRIVILEGED_DEFAULT);

}

void HAL_TIM_PeriodElapsedCallback(TIM_HandleTypeDef *htim)
{
  if (htim->Instance == TIM6) {
    HAL_IncTick();
  }
}

void Error_Handler(void)
{
  __disable_irq();
  while (1)
  {
  }
}
